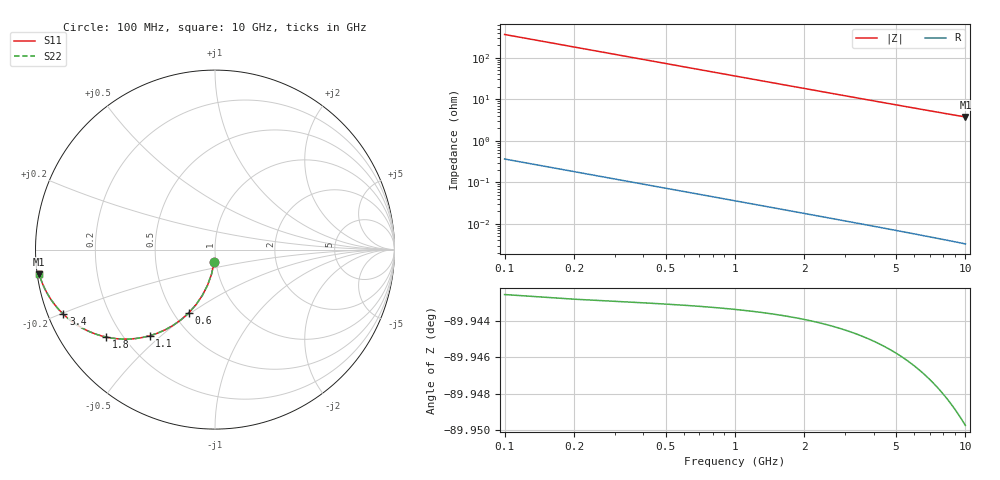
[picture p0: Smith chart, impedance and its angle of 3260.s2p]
# Hz S RI R 50.00
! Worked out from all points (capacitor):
!   100 points, 100 MHz to 10 GHz, reference 50 ohm
!   read as one part in shunt: C = 4.38 pF near 100 MHz
!   lowest |Z| = 3.76 ohm at 10 GHz (marker M1)
!   S11 on the Smith chart (normalised r, x): 100 MHz: 0.98, -0.13; 600 MHz: 0.60, -0.49; 1.1 GHz: 0.30, -0.46; 1.8 GHz: 0.14, -0.35; 3.4 GHz: 0.04, -0.20; 10 GHz: 0.01, -0.07
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1e8  -0.00476 -0.0684  0.9952 -0.0685  0.9952 -0.0685  -0.00476 -0.0684
2e8  -0.0187 -0.1349  0.9813 -0.1351  0.9813 -0.1351  -0.0187 -0.1349
3e8  -0.041 -0.1977  0.959 -0.198  0.959 -0.198  -0.041 -0.1977
4e8  -0.0705 -0.2554  0.9294 -0.2558  0.9294 -0.2558  -0.0705 -0.2554
5e8  -0.1059 -0.3071  0.894 -0.3075  0.894 -0.3075  -0.1059 -0.3071
6e8  -0.1457 -0.352  0.8543 -0.3526  0.8543 -0.3526  -0.1457 -0.352
7e8  -0.1883 -0.3901  0.8117 -0.3908  0.8117 -0.3908  -0.1883 -0.3901
8e8  -0.2325 -0.4215  0.7675 -0.4223  0.7675 -0.4223  -0.2325 -0.4215
9e8  -0.277 -0.4466  0.7229 -0.4475  0.7229 -0.4475  -0.277 -0.4466
1.1e9  -0.3639 -0.4801  0.6361 -0.4811  0.6361 -0.4811  -0.3639 -0.4801
1.4e9  -0.4807 -0.4985  0.5192 -0.4998  0.5192 -0.4998  -0.4807 -0.4985
1.6e9  -0.5472 -0.4965  0.4528 -0.498  0.4528 -0.498  -0.5472 -0.4965
1.8e9  -0.6045 -0.4876  0.3954 -0.4893  0.3954 -0.4893  -0.6045 -0.4876
2.1e9  -0.6752 -0.4668  0.3247 -0.4688  0.3247 -0.4688  -0.6752 -0.4668
2.5e9  -0.7464 -0.4334  0.2536 -0.4357  0.2536 -0.4357  -0.7464 -0.4334
2.9e9  -0.7983 -0.3994  0.2017 -0.4021  0.2017 -0.4021  -0.7983 -0.3994
3.4e9  -0.8445 -0.3602  0.1554 -0.3634  0.1554 -0.3634  -0.8445 -0.3602
4.2e9  -0.8922 -0.3076  0.1077 -0.3115  0.1077 -0.3115  -0.8922 -0.3076
5.1e9  -0.9242 -0.2618  0.0758 -0.2666  0.0758 -0.2666  -0.9242 -0.2618
6.7e9  -0.9546 -0.2045  0.0454 -0.2109  0.0454 -0.2109  -0.9546 -0.2045
8.4e9  -0.9706 -0.1643  0.0293 -0.1723  0.0293 -0.1723  -0.9706 -0.1643
1e10  -0.9791 -0.1375  0.0208 -0.1472  0.0208 -0.1472  -0.9791 -0.1375
